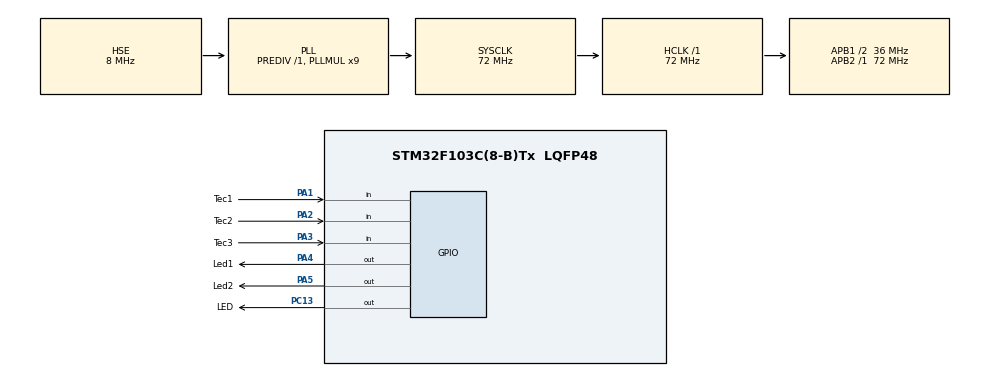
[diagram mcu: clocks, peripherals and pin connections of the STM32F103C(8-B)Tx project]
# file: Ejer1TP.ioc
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Mcu.Family=STM32F1
Mcu.Name=STM32F103C(8-B)Tx
Mcu.Package=LQFP48
NVIC.PriorityGroup=NVIC_PRIORITYGROUP_4
PA1.GPIO_Label=Tec1
PA1.Signal=GPIO_Input
PA13.Mode=Serial_Wire
PA13.Signal=SYS_JTMS-SWDIO
PA14.Mode=Serial_Wire
PA14.Signal=SYS_JTCK-SWCLK
PA2.GPIO_Label=Tec2
PA2.Signal=GPIO_Input
PA3.GPIO_Label=Tec3
PA3.Signal=GPIO_Input
PA4.GPIO_Label=Led1
PA4.Signal=GPIO_Output
PA5.GPIO_Label=Led2
PA5.Signal=GPIO_Output
PC13-TAMPER-RTC.GPIO_Label=LED
PC13-TAMPER-RTC.Signal=GPIO_Output
PD0-OSC_IN.Mode=HSE-External-Oscillator
PD0-OSC_IN.Signal=RCC_OSC_IN
PD1-OSC_OUT.Mode=HSE-External-Oscillator
PD1-OSC_OUT.Signal=RCC_OSC_OUT
ProjectManager.HeapSize=0x200
ProjectManager.StackSize=0x400
ProjectManager.TargetToolchain=STM32CubeIDE
RCC.AHBFreq_Value=72000000
RCC.APB1CLKDivider=RCC_HCLK_DIV2
RCC.APB1Freq_Value=36000000
RCC.APB1TimFreq_Value=72000000
RCC.APB2Freq_Value=72000000
RCC.APB2TimFreq_Value=72000000
RCC.HCLKFreq_Value=72000000
RCC.PLLMUL=RCC_PLL_MUL9
RCC.PLLSourceVirtual=RCC_PLLSOURCE_HSE
RCC.SYSCLKFreq_VALUE=72000000
RCC.SYSCLKSource=RCC_SYSCLKSOURCE_PLLCLK
RCC.USBFreq_Value=72000000
board=custom

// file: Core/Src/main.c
/* USER CODE BEGIN Header */
/**
  ******************************************************************************
  * @file           : main.c
  * @brief          : Main program body
  ******************************************************************************
  * @attention
  *
  * Copyright (c) 2024 STMicroelectronics.
  * All rights reserved.
  *
  * This software is licensed under terms that can be found in the LICENSE file
  * in the root directory of this software component.
  * If no LICENSE file comes with this software, it is provided AS-IS.
  *
  ******************************************************************************
  */
/* USER CODE END Header */
#include "main.h"

void SystemClock_Config(void);
static void MX_GPIO_Init(void);

int main(void)
{

  /* MCU Configuration--------------------------------------------------------*/

  /* Reset of all peripherals, Initializes the Flash interface and the Systick. */
  HAL_Init();

  /* Configure the system clock */
  SystemClock_Config();

  /* Initialize all configured peripherals */
  MX_GPIO_Init();
  /* USER CODE BEGIN 2 */
#define OFF       0
#define ABRIENDO  1
#define CERRANDO  2

  int estado=0;
  int puerta=0; //PUERTA CERRADA:0  PUERTA ABIERTA:1
  /* USER CODE END 2 */

  /* Infinite loop */
  /* USER CODE BEGIN WHILE */
  while (1)
  {
	  switch (estado)
	  {
	  case OFF: //MOTOR APAGADO
		  HAL_GPIO_WritePin(GPIOA,Led1_Pin, GPIO_PIN_RESET);
		  HAL_GPIO_WritePin(GPIOA,Led2_Pin, GPIO_PIN_RESET); // LED2: MOTOR OFF

		  if(HAL_GPIO_ReadPin(GPIOA,Tec1_Pin)==0 && puerta==1)//PUERTA ABIERTA Y SIN PRESENCIA
		  {
			  HAL_Delay(3000);
		 	  estado=2;
		  }
		  if(HAL_GPIO_ReadPin(GPIOA,Tec1_Pin)==1 && puerta==0) //PUERTA CERRADA Y DETECTA PRESENCIA
		  {
			  estado=1;
		  }
		  break;
	  case ABRIENDO: //LED1:ON
		  HAL_GPIO_WritePin(GPIOA,Led1_Pin, GPIO_PIN_SET); //LED 1: DIRECCION ABRIENDO
		  HAL_GPIO_WritePin(GPIOA,Led2_Pin, GPIO_PIN_SET); // LED 2: MOTOR ON

		  if(HAL_GPIO_ReadPin(GPIOA,Tec3_Pin)==1) //Final de carrera abierto: PUERTA ABIERTA
		  {
			  puerta=1; //puerta abierta
			  estado=0;
		  }
		  break;
	  case CERRANDO: //	LED1:OFF
	  	  HAL_GPIO_WritePin(GPIOA,Led1_Pin, GPIO_PIN_RESET); //LED 1: DIRECCION CERRANDO
	      HAL_GPIO_WritePin(GPIOA,Led2_Pin, GPIO_PIN_SET); //LED 2: MOTOR ON

	  	  if(HAL_GPIO_ReadPin(GPIOA,Tec1_Pin)==1 && puerta==1) //Si detecta presencia se abre
	  	  {
	  		  estado=1;
	  	  }
	  	  if(HAL_GPIO_ReadPin(GPIOA,Tec2_Pin)==1)//Final de carrera cerrado: PUERTA CERRADA
	  	  {
	  		  puerta=0; //puerta cerrada
	  		  estado=0;
	  	  }
	  	  break;

	  }

 }
    /* USER CODE END WHILE */

  }

void SystemClock_Config(void)
{
  RCC_OscInitTypeDef RCC_OscInitStruct = {0};
  RCC_ClkInitTypeDef RCC_ClkInitStruct = {0};

  /** Initializes the RCC Oscillators according to the specified parameters
  * in the RCC_OscInitTypeDef structure.
  */
  RCC_OscInitStruct.OscillatorType = RCC_OSCILLATORTYPE_HSE;
  RCC_OscInitStruct.HSEState = RCC_HSE_ON;
  RCC_OscInitStruct.HSEPredivValue = RCC_HSE_PREDIV_DIV1;
  RCC_OscInitStruct.HSIState = RCC_HSI_ON;
  RCC_OscInitStruct.PLL.PLLState = RCC_PLL_ON;
  RCC_OscInitStruct.PLL.PLLSource = RCC_PLLSOURCE_HSE;
  RCC_OscInitStruct.PLL.PLLMUL = RCC_PLL_MUL9;
  if (HAL_RCC_OscConfig(&RCC_OscInitStruct) != HAL_OK)
  {
    Error_Handler();
  }

  /** Initializes the CPU, AHB and APB buses clocks
  */
  RCC_ClkInitStruct.ClockType = RCC_CLOCKTYPE_HCLK|RCC_CLOCKTYPE_SYSCLK
                              |RCC_CLOCKTYPE_PCLK1|RCC_CLOCKTYPE_PCLK2;
  RCC_ClkInitStruct.SYSCLKSource = RCC_SYSCLKSOURCE_PLLCLK;
  RCC_ClkInitStruct.AHBCLKDivider = RCC_SYSCLK_DIV1;
  RCC_ClkInitStruct.APB1CLKDivider = RCC_HCLK_DIV2;
  RCC_ClkInitStruct.APB2CLKDivider = RCC_HCLK_DIV1;

  if (HAL_RCC_ClockConfig(&RCC_ClkInitStruct, FLASH_LATENCY_2) != HAL_OK)
  {
    Error_Handler();
  }
}

static void MX_GPIO_Init(void)
{
  GPIO_InitTypeDef GPIO_InitStruct = {0};

  /* GPIO Ports Clock Enable */
  __HAL_RCC_GPIOC_CLK_ENABLE();
  __HAL_RCC_GPIOD_CLK_ENABLE();
  __HAL_RCC_GPIOA_CLK_ENABLE();

  /*Configure GPIO pin Output Level */
  HAL_GPIO_WritePin(LED_GPIO_Port, LED_Pin, GPIO_PIN_RESET);

  /*Configure GPIO pin Output Level */
  HAL_GPIO_WritePin(GPIOA, Led1_Pin|Led2_Pin, GPIO_PIN_RESET);

  /*Configure GPIO pin : LED_Pin */
  GPIO_InitStruct.Pin = LED_Pin;
  GPIO_InitStruct.Mode = GPIO_MODE_OUTPUT_PP;
  GPIO_InitStruct.Pull = GPIO_NOPULL;
  GPIO_InitStruct.Speed = GPIO_SPEED_FREQ_LOW;
  HAL_GPIO_Init(LED_GPIO_Port, &GPIO_InitStruct);

  /*Configure GPIO pins : Tec1_Pin Tec2_Pin Tec3_Pin */
  GPIO_InitStruct.Pin = Tec1_Pin|Tec2_Pin|Tec3_Pin;
  GPIO_InitStruct.Mode = GPIO_MODE_INPUT;
  GPIO_InitStruct.Pull = GPIO_NOPULL;
  HAL_GPIO_Init(GPIOA, &GPIO_InitStruct);

  /*Configure GPIO pins : Led1_Pin Led2_Pin */
  GPIO_InitStruct.Pin = Led1_Pin|Led2_Pin;
  GPIO_InitStruct.Mode = GPIO_MODE_OUTPUT_PP;
  GPIO_InitStruct.Pull = GPIO_NOPULL;
  GPIO_InitStruct.Speed = GPIO_SPEED_FREQ_LOW;
  HAL_GPIO_Init(GPIOA, &GPIO_InitStruct);

}

void Error_Handler(void)
{
  __disable_irq();
  while (1)
  {
  }
}
